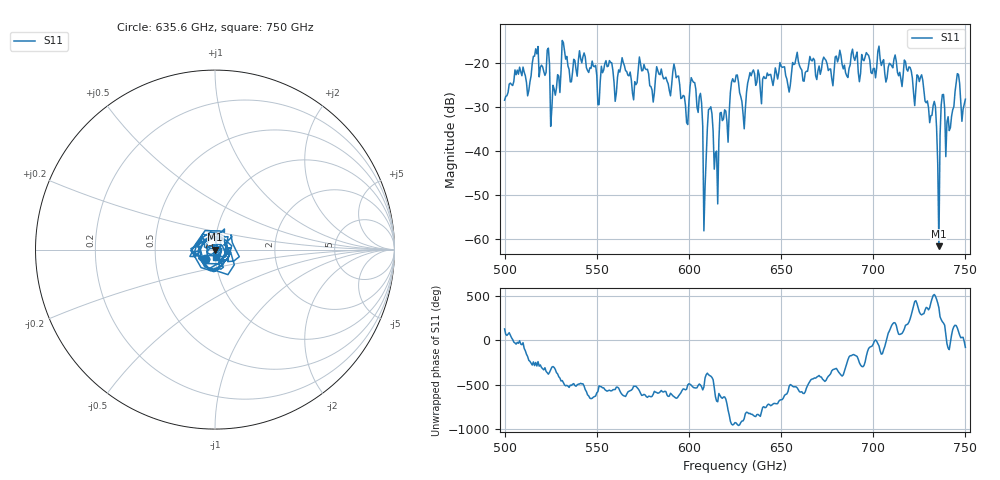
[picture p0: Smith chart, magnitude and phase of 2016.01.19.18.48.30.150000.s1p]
!Created with skrf (http://scikit-rf.org).
# GHz S RI R 50.0
!freq ReS11 ImS11
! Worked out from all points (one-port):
!   401 points, 500 GHz to 750 GHz, reference 50 ohm
!   lowest |S11| = -61.5 dB at 735.6 GHz (marker M1), VSWR 1.00, Z = 50.1 + j0.0109 ohm
!   |S11| at or under -10 dB: start of sweep to end of sweep
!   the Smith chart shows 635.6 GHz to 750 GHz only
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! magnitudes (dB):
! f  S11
! 500 GHz  -28.4
! 513.1 GHz  -26.2
! 516.9 GHz  -16.7
! 523.1 GHz  -17.0
! 526.2 GHz  -25.0
! 531.2 GHz  -14.8
! 550.6 GHz  -29.4
! 562.5 GHz  -22.0
! 593.8 GHz  -22.9
! 598.8 GHz  -33.5
! 602.5 GHz  -24.3
! 606.2 GHz  -26.8
! 608.8 GHz  -48.1
! 611.2 GHz  -30.3
! 615 GHz  -39.9
! 618.1 GHz  -33.0
! 625 GHz  -24.2
! 629.4 GHz  -31.5
! 633.8 GHz  -22.8
! 656.2 GHz  -19.8
! 687.5 GHz  -20.3
! 718.8 GHz  -21.8
! 733.1 GHz  -28.6
! 735.6 GHz  -61.5
! 737.5 GHz  -27.1
! 740.6 GHz  -32.1
! 745.6 GHz  -22.3
! 750 GHz  -28.1
